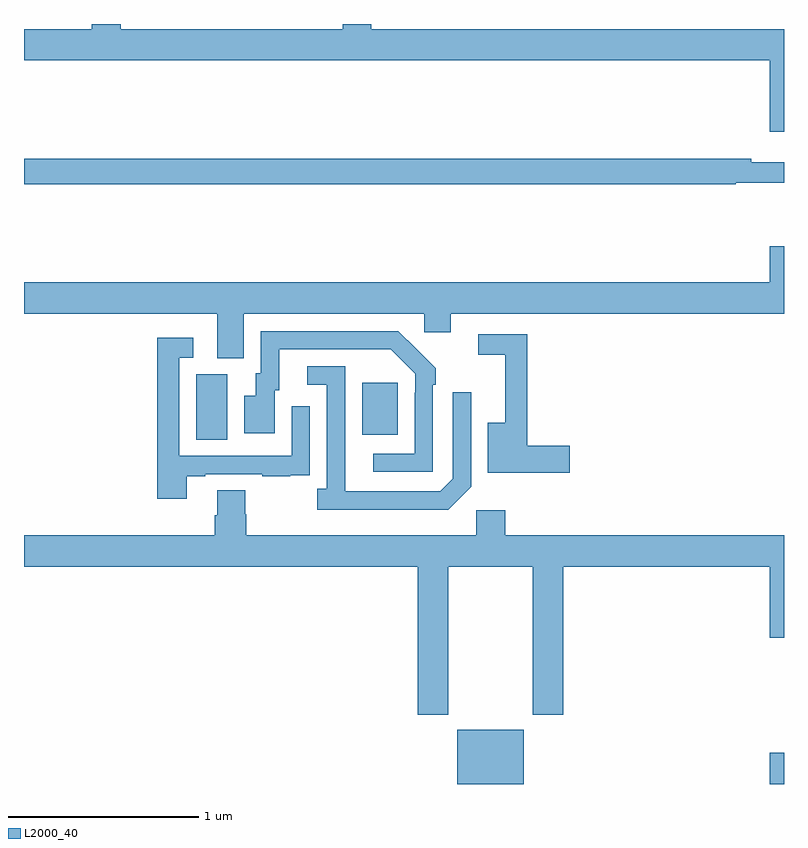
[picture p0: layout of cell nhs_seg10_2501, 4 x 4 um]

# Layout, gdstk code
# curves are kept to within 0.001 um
import gdstk
lib = gdstk.Library(unit=1e-6, precision=1e-09)
def R(c, l, rs):  # rectangles x0, y0, x1, y1
    for r in rs: c.add(gdstk.rectangle(r[:2], r[2:], *l))
def P(c, l, *ps):  # polygons
    for p in ps: c.add(gdstk.Polygon(p, *l))
L2000_40 = (2000, 40)

nhs_seg10_2501 = lib.new_cell('nhs_seg10_2501')
R(nhs_seg10_2501, L2000_40, [(247.28,1304.5,247.63,1304.785), (248.924,1304.5,249,1304.665), (245.906,1306.312,246.07,1306.656), (246.779,1306.337,246.967,1306.612)])
P(nhs_seg10_2501, L2000_40, [(249,1308.472),(246.828,1308.472),(246.828,1308.5),(246.677,1308.5),(246.677,1308.472),(245.509,1308.472),(245.509,1308.5),(245.357,1308.5),(245.357,1308.472),(245,1308.472),(245,1308.308),(248.924,1308.308),(248.924,1307.934),(249,1307.934)],
  [(248.745,1307.664),(249,1307.664),(249,1307.773),(248.828,1307.773),(248.828,1307.792),(245,1307.792),(245,1307.656),(248.745,1307.656)],
  [(246.157,1306.976),(247.107,1306.976),(247.107,1306.878),(247.246,1306.878),(247.246,1306.976),(249,1306.976),(249,1307.329),(248.924,1307.329),(248.924,1307.14),(245,1307.14),(245,1306.976),(246.017,1306.976),(246.017,1306.741),(246.157,1306.741)],
  [(247.152,1306.601),(247.167,1306.601),(247.167,1306.689),(246.97,1306.884),(246.246,1306.884),(246.246,1306.662),(246.221,1306.662),(246.221,1306.543),(246.158,1306.543),(246.158,1306.347),(246.319,1306.347),(246.319,1306.572),(246.343,1306.572),(246.343,1306.788),(246.931,1306.788),(247.059,1306.659),(247.059,1306.559),(247.056,1306.559),(247.056,1306.239),(246.837,1306.239),(246.837,1306.143),(247.152,1306.143)],
  [(247.873,1306.28),(247.649,1306.28),(247.649,1306.866),(247.392,1306.866),(247.392,1306.758),(247.532,1306.758),(247.532,1306.402),(247.442,1306.402),(247.442,1306.138),(247.873,1306.138)],
  [(245.857,1306.119),(245.953,1306.119),(245.953,1306.131),(246.253,1306.131),(246.253,1306.119),(246.401,1306.119),(246.401,1306.125),(246.503,1306.125),(246.503,1306.234),(246.504,1306.234),(246.504,1306.489),(246.408,1306.489),(246.408,1306.227),(245.817,1306.227),(245.817,1306.743),(245.89,1306.743),(245.89,1306.849),(245.701,1306.849),(245.701,1306.002),(245.857,1306.002)],
  [(247.353,1306.065),(247.353,1306.561),(247.257,1306.561),(247.257,1306.107),(247.191,1306.041),(246.691,1306.041),(246.69,1306.698),(246.492,1306.698),(246.492,1306.602),(246.594,1306.602),(246.594,1306.054),(246.543,1306.054),(246.543,1305.944),(247.232,1305.944)],
  [(247.233,1305.644),(247.678,1305.644),(247.678,1304.865),(247.838,1304.865),(247.838,1305.644),(248.924,1305.644),(248.924,1305.27),(249,1305.27),(249,1305.808),(247.532,1305.808),(247.532,1305.94),(247.38,1305.94),(247.38,1305.808),(246.17,1305.808),(246.17,1305.921),(246.165,1305.921),(246.165,1306.046),(246.017,1306.046),(246.017,1305.914),(246.005,1305.914),(246.005,1305.808),(245,1305.808),(245,1305.644),(247.073,1305.644),(247.073,1304.865),(247.233,1304.865)])

lib.write_gds('nhs_seg10_2501.gds')
